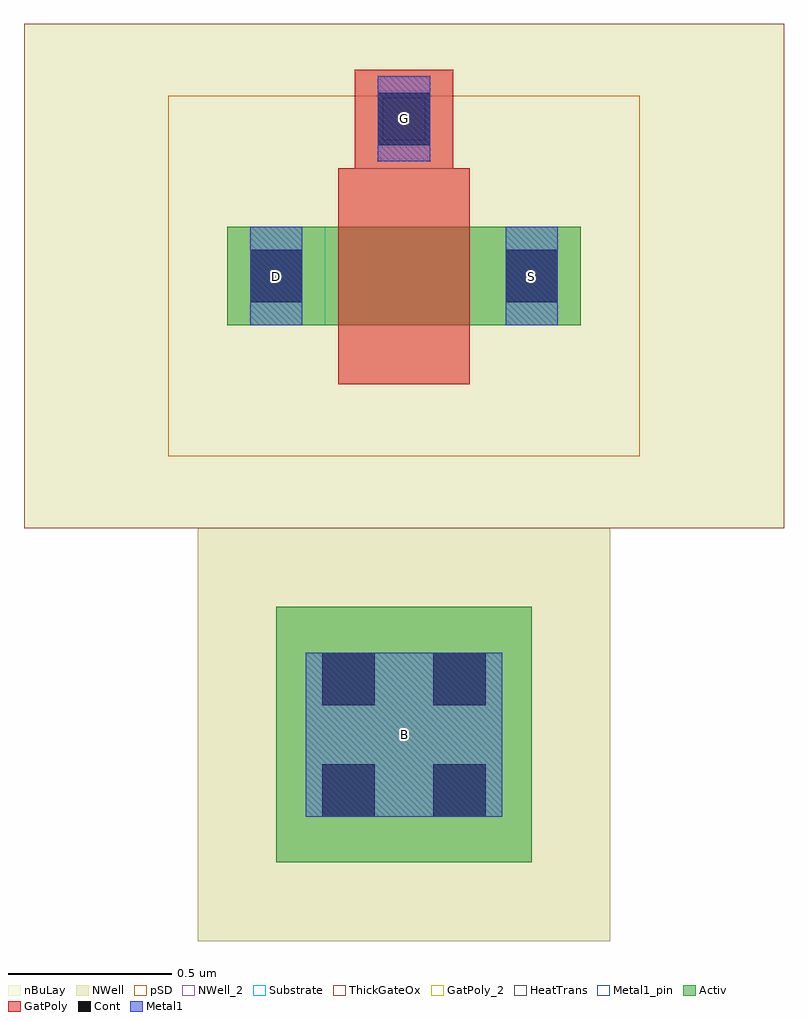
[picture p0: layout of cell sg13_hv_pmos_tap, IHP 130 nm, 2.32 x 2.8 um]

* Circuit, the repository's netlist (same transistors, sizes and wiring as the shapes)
** sch_path: /foss/designs/ihp-open-pdk-regression/LVS-testbenches/schematic/sg13_hv_pmos_tap.sch
.subckt sg13_hv_pmos_tap D S G B
*.PININFO D:B S:B G:B B:B
RR1 B net1 ntap1 A=6.084e-13 P=3.12e-06
MM2 D G S net1 sg13_hv_pmos w=0.3u l=0.4u ng=1
.ends

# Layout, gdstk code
from math import pi, radians
import gdstk
lib = gdstk.Library(unit=1e-6, precision=1e-09)
def R(c, l, rs):  # rectangles x0, y0, x1, y1
    for r in rs: c.add(gdstk.rectangle(r[:2], r[2:], *l))
Activ = (1, 0)
GatPoly = (5, 0)
GatPoly_2 = (5, 2)
Cont = (6, 0)
Metal1 = (8, 0)
Metal1_pin = (8, 2)
pSD = (14, 0)
NWell = (31, 0)
NWell_2 = (31, 2)
nBuLay = (32, 0)
Substrate = (40, 0)
ThickGateOx = (44, 0)
HeatTrans = (51, 0)

pmoshv = lib.new_cell('pmosHV')
R(pmoshv, Activ, [(0,0,0.3,0.3), (0,0,1.08,0.3), (0.78,0,1.08,0.3)])
R(pmoshv, GatPoly, [(0.34,-0.18,0.74,0.48)])
R(pmoshv, GatPoly_2, [(0.34,-0.18,0.74,0.48)])
R(pmoshv, Cont, [(0.07,0.07,0.23,0.23), (0.85,0.07,1.01,0.23)])
R(pmoshv, Metal1, [(0.07,0,0.23,0.3), (0.85,0,1.01,0.3)])
R(pmoshv, Metal1_pin, [(0.07,0,0.23,0.3), (0.85,0,1.01,0.3)])
R(pmoshv, pSD, [(-0.18,-0.4,1.26,0.7)])
R(pmoshv, NWell, [(-0.62,-0.62,1.7,0.92)])
R(pmoshv, Substrate, [(0.78,0,1.08,0.3)])
R(pmoshv, ThickGateOx, [(-0.62,-0.62,1.7,0.92)])
R(pmoshv, HeatTrans, [(0.34,-0.18,0.74,0.48)])
pmoshv.add(gdstk.Label('pmosHV', (0.54,0.15), layer=63, texttype=0))
pmoshv.add(gdstk.Label('pmos', (0.54,0.15), layer=51, texttype=0))

via = lib.new_cell('Via')
R(via, GatPoly, [(-0.15,-0.15,0.15,0.15)])
R(via, Cont, [(-0.08,-0.08,0.08,0.08)])
R(via, Metal1, [(-0.13,-0.08,0.13,0.08)])

ntap1 = lib.new_cell('ntap1')
R(ntap1, Activ, [(0,0,0.78,0.78)])
R(ntap1, Cont, [(0.14,0.14,0.3,0.3), (0.48,0.14,0.64,0.3), (0.14,0.48,0.3,0.64), (0.48,0.48,0.64,0.64)])
R(ntap1, Metal1, [(0.14,0.09,0.64,0.69)])
R(ntap1, Metal1_pin, [(0.14,0.09,0.64,0.69), (0.14,0.14,0.64,0.64)])
R(ntap1, NWell, [(-0.24,-0.24,1.02,1.02), (0,0,0.78,0.78)])
R(ntap1, NWell_2, [(0,0,0.78,0.78)])
R(ntap1, nBuLay, [(-0.24,-0.24,1.02,1.02)])
ntap1.add(gdstk.Label('well', (0.39,0.01), layer=31, texttype=0))
ntap1.add(gdstk.Label('well', (0.39,0.01), layer=63, texttype=0))

sg13_hv_pmos_tap = lib.new_cell('sg13_hv_pmos_tap')
R(sg13_hv_pmos_tap, Metal1_pin, [(1.095,-0.695,1.225,-0.565), (0.705,0.705,0.835,0.835), (1.485,0.705,1.615,0.835), (1.095,1.185,1.225,1.315)])
sg13_hv_pmos_tap.add(gdstk.Reference(pmoshv, (1.7,0.92), rotation=pi))
sg13_hv_pmos_tap.add(gdstk.Reference(via, (1.16,1.25), rotation=3*pi/2))
sg13_hv_pmos_tap.add(gdstk.Reference(ntap1, (0.77,-0.24), rotation=3*pi/2))
sg13_hv_pmos_tap.add(gdstk.Label('D', (0.77,0.77), layer=8, texttype=25))
sg13_hv_pmos_tap.add(gdstk.Label('S', (1.55,0.77), layer=8, texttype=25))
sg13_hv_pmos_tap.add(gdstk.Label('G', (1.16,1.25), layer=8, texttype=25))
sg13_hv_pmos_tap.add(gdstk.Label('B', (1.16,-0.63), layer=8, texttype=25))

lib.write_gds('sg13_hv_pmos_tap.gds')
